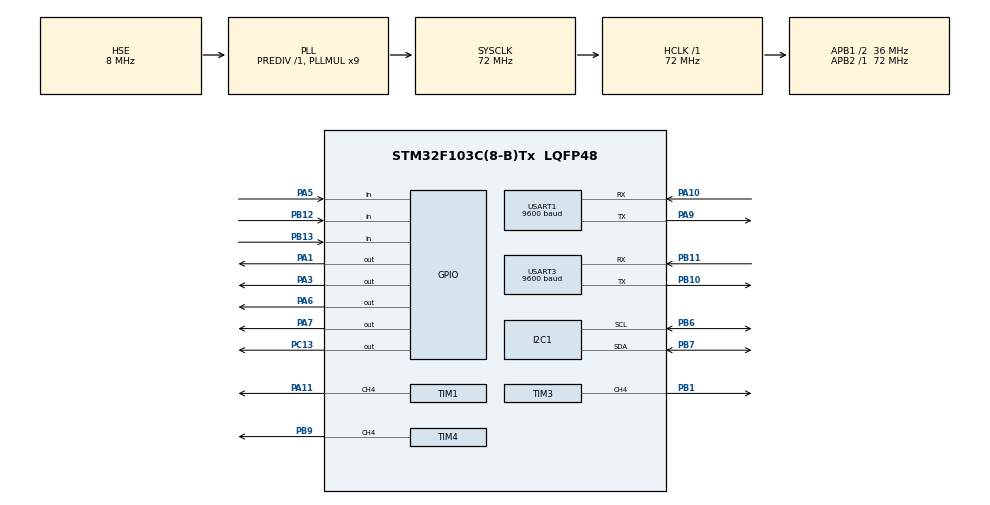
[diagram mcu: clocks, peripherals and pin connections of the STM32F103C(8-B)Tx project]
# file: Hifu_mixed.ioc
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Dma.Request0=USART1_RX
Dma.Request1=USART1_TX
Dma.Request2=USART3_RX
Dma.Request3=USART3_TX
Dma.USART1_RX.0.Direction=DMA_PERIPH_TO_MEMORY
Dma.USART1_RX.0.Instance=DMA1_Channel5
Dma.USART1_RX.0.MemDataAlignment=DMA_MDATAALIGN_BYTE
Dma.USART1_RX.0.MemInc=DMA_MINC_ENABLE
Dma.USART1_RX.0.Mode=DMA_NORMAL
Dma.USART1_RX.0.PeriphDataAlignment=DMA_PDATAALIGN_BYTE
Dma.USART1_RX.0.PeriphInc=DMA_PINC_DISABLE
Dma.USART1_RX.0.Priority=DMA_PRIORITY_LOW
Dma.USART1_TX.1.Direction=DMA_MEMORY_TO_PERIPH
Dma.USART1_TX.1.Instance=DMA1_Channel4
Dma.USART1_TX.1.MemDataAlignment=DMA_MDATAALIGN_BYTE
Dma.USART1_TX.1.MemInc=DMA_MINC_ENABLE
Dma.USART1_TX.1.Mode=DMA_NORMAL
Dma.USART1_TX.1.PeriphDataAlignment=DMA_PDATAALIGN_BYTE
Dma.USART1_TX.1.PeriphInc=DMA_PINC_DISABLE
Dma.USART1_TX.1.Priority=DMA_PRIORITY_LOW
Dma.USART3_RX.2.Direction=DMA_PERIPH_TO_MEMORY
Dma.USART3_RX.2.Instance=DMA1_Channel3
Dma.USART3_RX.2.MemDataAlignment=DMA_MDATAALIGN_BYTE
Dma.USART3_RX.2.MemInc=DMA_MINC_ENABLE
Dma.USART3_RX.2.Mode=DMA_NORMAL
Dma.USART3_RX.2.PeriphDataAlignment=DMA_PDATAALIGN_BYTE
Dma.USART3_RX.2.PeriphInc=DMA_PINC_DISABLE
Dma.USART3_RX.2.Priority=DMA_PRIORITY_LOW
Dma.USART3_TX.3.Direction=DMA_MEMORY_TO_PERIPH
Dma.USART3_TX.3.Instance=DMA1_Channel2
Dma.USART3_TX.3.MemDataAlignment=DMA_MDATAALIGN_BYTE
Dma.USART3_TX.3.MemInc=DMA_MINC_ENABLE
Dma.USART3_TX.3.Mode=DMA_NORMAL
Dma.USART3_TX.3.PeriphDataAlignment=DMA_PDATAALIGN_BYTE
Dma.USART3_TX.3.PeriphInc=DMA_PINC_DISABLE
Dma.USART3_TX.3.Priority=DMA_PRIORITY_LOW
I2C1.I2C_Mode=I2C_Standard
I2C1.OwnAddress=80
Mcu.Family=STM32F1
Mcu.Name=STM32F103C(8-B)Tx
Mcu.Package=LQFP48
NVIC.DMA1_Channel2_IRQn=true\:0\:0\:false\:false\:true\:false\:true\:true
NVIC.DMA1_Channel3_IRQn=true\:0\:0\:false\:false\:true\:false\:true\:true
NVIC.DMA1_Channel4_IRQn=true\:0\:0\:false\:false\:true\:false\:true\:true
NVIC.DMA1_Channel5_IRQn=true\:0\:0\:false\:false\:true\:false\:true\:true
NVIC.I2C1_ER_IRQn=true\:0\:0\:false\:false\:true\:true\:true\:true
NVIC.I2C1_EV_IRQn=true\:0\:0\:false\:false\:true\:true\:true\:true
NVIC.PriorityGroup=NVIC_PRIORITYGROUP_4
NVIC.TIM2_IRQn=true\:0\:0\:false\:false\:true\:true\:true\:true
NVIC.USART1_IRQn=true\:0\:0\:false\:false\:true\:true\:true\:true
NVIC.USART3_IRQn=true\:0\:0\:false\:false\:true\:true\:true\:true
PA1.GPIO_ModeDefaultOutputPP=GPIO_MODE_OUTPUT_PP
PA1.GPIO_PuPd=GPIO_PULLDOWN
PA1.GPIO_Speed=GPIO_SPEED_FREQ_HIGH
PA1.Signal=GPIO_Output
PA10.Mode=Asynchronous
PA10.Signal=USART1_RX
PA11.Signal=S_TIM1_CH4
PA3.GPIO_PuPd=GPIO_PULLDOWN
PA3.GPIO_Speed=GPIO_SPEED_FREQ_HIGH
PA3.Signal=GPIO_Output
PA5.Signal=GPIO_Input
PA6.GPIO_PuPd=GPIO_PULLDOWN
PA6.GPIO_Speed=GPIO_SPEED_FREQ_HIGH
PA6.Signal=GPIO_Output
PA7.GPIO_PuPd=GPIO_PULLDOWN
PA7.GPIO_Speed=GPIO_SPEED_FREQ_HIGH
PA7.PinState=GPIO_PIN_RESET
PA7.Signal=GPIO_Output
PA9.Mode=Asynchronous
PA9.Signal=USART1_TX
PB1.Signal=S_TIM3_CH4
PB10.Mode=Asynchronous
PB10.Signal=USART3_TX
PB11.Mode=Asynchronous
PB11.Signal=USART3_RX
PB12.Signal=GPIO_Input
PB13.Signal=GPIO_Input
PB6.Mode=I2C
PB6.Signal=I2C1_SCL
PB7.Mode=I2C
PB7.Signal=I2C1_SDA
PB9.Signal=S_TIM4_CH4
PC13-TAMPER-RTC.GPIO_Speed=GPIO_SPEED_FREQ_HIGH
PC13-TAMPER-RTC.PinState=GPIO_PIN_SET
PC13-TAMPER-RTC.Signal=GPIO_Output
PD0-OSC_IN.Mode=HSE-External-Oscillator
PD0-OSC_IN.Signal=RCC_OSC_IN
PD1-OSC_OUT.Mode=HSE-External-Oscillator
PD1-OSC_OUT.Signal=RCC_OSC_OUT
ProjectManager.HeapSize=0x200
ProjectManager.StackSize=0x400
ProjectManager.TargetToolchain=MDK-ARM V5.32
RCC.AHBFreq_Value=72000000
RCC.APB1CLKDivider=RCC_HCLK_DIV2
RCC.APB1Freq_Value=36000000
RCC.APB1TimFreq_Value=72000000
RCC.APB2Freq_Value=72000000
RCC.APB2TimFreq_Value=72000000
RCC.HCLKFreq_Value=72000000
RCC.PLLMUL=RCC_PLL_MUL9
RCC.PLLSourceVirtual=RCC_PLLSOURCE_HSE
RCC.SYSCLKFreq_VALUE=72000000
RCC.SYSCLKSource=RCC_SYSCLKSOURCE_PLLCLK
RCC.USBFreq_Value=72000000
SH.S_TIM1_CH4.0=TIM1_CH4,PWM Generation4 CH4
SH.S_TIM3_CH4.0=TIM3_CH4,PWM Generation4 CH4
SH.S_TIM4_CH4.0=TIM4_CH4,PWM Generation4 CH4
TIM1.AutoReloadPreload=TIM_AUTORELOAD_PRELOAD_ENABLE
TIM1.Channel-PWM\ Generation4\ CH4=TIM_CHANNEL_4
TIM1.Period=100-1
TIM1.Prescaler=720-1
TIM2.AutoReloadPreload=TIM_AUTORELOAD_PRELOAD_ENABLE
TIM2.Period=1000-1
TIM2.Prescaler=7200-1
TIM3.AutoReloadPreload=TIM_AUTORELOAD_PRELOAD_ENABLE
TIM3.Channel-PWM\ Generation4\ CH4=TIM_CHANNEL_4
TIM3.Period=100-1
TIM3.Prescaler=720-1
TIM4.AutoReloadPreload=TIM_AUTORELOAD_PRELOAD_ENABLE
TIM4.Channel-PWM\ Generation4\ CH4=TIM_CHANNEL_4
TIM4.Period=100-1
TIM4.Prescaler=720-1
USART1.BaudRate=9600
USART1.VirtualMode=VM_ASYNC
USART3.BaudRate=9600
USART3.VirtualMode=VM_ASYNC
VP_SYS_VS_ND.Mode=No_Debug
VP_TIM1_VS_ClockSourceINT.Mode=Internal
VP_TIM2_VS_ClockSourceINT.Mode=Internal
VP_TIM3_VS_ClockSourceINT.Mode=Internal
VP_TIM4_VS_ClockSourceINT.Mode=Internal
board=custom

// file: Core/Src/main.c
/* USER CODE BEGIN Header */
/**
  ******************************************************************************
  * @file           : main.c
  * @brief          : Main program body
  ******************************************************************************
  * @attention
  *
  * Copyright (c) 2024 STMicroelectronics.
  * All rights reserved.
  *
  * This software is licensed under terms that can be found in the LICENSE file
  * in the root directory of this software component.
  * If no LICENSE file comes with this software, it is provided AS-IS.
  *
  ******************************************************************************
  */
/* USER CODE END Header */
#include "main.h"

/* USER CODE BEGIN Includes */
#include "string.h"
/* USER CODE END Includes */

I2C_HandleTypeDef hi2c1;

TIM_HandleTypeDef htim1;
TIM_HandleTypeDef htim2;
TIM_HandleTypeDef htim3;
TIM_HandleTypeDef htim4;

UART_HandleTypeDef huart1;
UART_HandleTypeDef huart3;
DMA_HandleTypeDef hdma_usart1_rx;
DMA_HandleTypeDef hdma_usart1_tx;
DMA_HandleTypeDef hdma_usart3_rx;
DMA_HandleTypeDef hdma_usart3_tx;

void SystemClock_Config(void);
static void MX_GPIO_Init(void);
static void MX_DMA_Init(void);
static void MX_I2C1_Init(void);
static void MX_TIM2_Init(void);
static void MX_USART1_UART_Init(void);
static void MX_USART3_UART_Init(void);
static void MX_TIM1_Init(void);
static void MX_TIM3_Init(void);
static void MX_TIM4_Init(void);

/* USER CODE BEGIN 0 */

uint8_t adrs[1] = {0x40};

#define rxsize  6
uint8_t rxdata[rxsize];

int flag_recieved = 0;
int start_timer_stc_buzzer = 0;
volatile int timer_stc_buzzer = 0;

int timer_select = 0;

volatile int start_timer1_100ms = 0;
volatile int timer1_100ms = 0;

int shooting = 0;
int shooting_timer = 0;
int shoot_duration = 0;

int ready_stop_one_time_check = 0;
int ready_stop_one_time = 0;

int step = 0; // 0 : start / 1 : run

int reset_for_first_time = 1;

int connect_to_cartridge = 0;
int connect_to_cartridge_buzzer = 0;
int connect_to_cartridge_handpiece_change = 0;
int connect_to_cartridge_first_time = 1;

volatile int cartridge_0x44_kind_check = 77;
int cartridge_0x44_kind_check_check = 77;

volatile uint16_t cartridge_shot = 0;
uint16_t cartridge_shot_check = 0;

volatile uint16_t current_shot = 0;
uint16_t current_shot_check = 0;

volatile uint16_t per_patient = 0;
uint16_t per_patient_check = 0;

volatile int first_start = 0;
int first_start_check = 0;

volatile int ready = 0;
volatile int ready_check = 0;

volatile int energy_level = 0;
int energy_level_check = 0;

volatile int length_level = 0;
int length_level_check = 0;

volatile int distance_page = 0;
int distance_page_check = 0;

volatile int distance_level = 0;
int distance_level_check = 0;

int ready_led_start = 0;
volatile int timer_ready_led_start = 0;

int handpiece_select = 0; // 0:handpiece1 & 1:handpiece2
int handpiece_select_check = 0;

//*****************THE SIZE OF RECEIVING BUFFER MUST BE ATLEAST 2 TIMES MORE THAN THE BIGGEST DATA SIZE WHICH IS TRANSFERED **************************
uint8_t RxBuf[20];
uint8_t MainBuf[30];
uint8_t temp[2];
int indx = 0;

//uint8_t RxBuf2[2000]; // STC SHOOT CHECK

uint8_t start_treatment[20]    = {0xAA, 0x73, 0x03, 0x7B, 0x00, 0x89, 0xCC, 0x33, 0xC3, 0x3C, 0xAA, 0x72, 0x03, 0x7B, 0x00, 0x89, 0xCC, 0x33, 0xC3, 0x3C};
uint8_t ready_STC[20]					 = {0xAA, 0x73, 0x03, 0xA2, 0x02, 0x68, 0xCC, 0x33, 0xC3, 0x3C, 0xAA, 0x72, 0x03, 0xA2, 0x02, 0x68, 0xCC, 0x33, 0xC3, 0x3C};
uint8_t ready_canccel[20]			 = {0xAA, 0x73, 0x03, 0xAC, 0x02, 0xA9, 0xCC, 0x33, 0xC3, 0x3C, 0xAA, 0x72, 0x03, 0xAC, 0x02, 0xA9, 0xCC, 0x33, 0xC3, 0x3C};
uint8_t energy_up[20]					 = {0xAA, 0x73, 0x03, 0x6D, 0x01, 0x6B, 0xCC, 0x33, 0xC3, 0x3C, 0xAA, 0x72, 0x03, 0x6D, 0x01, 0x6B, 0xCC, 0x33, 0xC3, 0x3C};
uint8_t energy_down[20]				 = {0xAA, 0x73, 0x03, 0x79, 0x01, 0xAF, 0xCC, 0x33, 0xC3, 0x3C, 0xAA, 0x72, 0x03, 0x79, 0x01, 0xAF, 0xCC, 0x33, 0xC3, 0x3C};
uint8_t length_up[20]					 = {0xAA, 0x73, 0x03, 0xC7, 0x01, 0x60, 0xCC, 0x33, 0xC3, 0x3C, 0xAA, 0x72, 0x03, 0xC7, 0x01, 0x60, 0xCC, 0x33, 0xC3, 0x3C};
uint8_t length_down[20]				 = {0xAA, 0x73, 0x03, 0xC5, 0x01, 0xAB, 0xCC, 0x33, 0xC3, 0x3C, 0xAA, 0x72, 0x03, 0xC5, 0x01, 0xAB, 0xCC, 0x33, 0xC3, 0x3C};
uint8_t distance_p[20]			   = {0xAA, 0x73, 0x03, 0xCA, 0x00, 0xDB, 0xCC, 0x33, 0xC3, 0x3C, 0xAA, 0x72, 0x03, 0xCA, 0x00, 0xDB, 0xCC, 0x33, 0xC3, 0x3C};
uint8_t distance_p_cancel[20]	 = {0xAA, 0x73, 0x03, 0xC9, 0x00, 0xE0, 0xCC, 0x33, 0xC3, 0x3C, 0xAA, 0x72, 0x03, 0xC9, 0x00, 0xE0, 0xCC, 0x33, 0xC3, 0x3C};
uint8_t distance_up[20]				 = {0xAA, 0x73, 0x03, 0xCB, 0x01, 0x9E, 0xCC, 0x33, 0xC3, 0x3C, 0xAA, 0x72, 0x03, 0xCB, 0x01, 0x9E, 0xCC, 0x33, 0xC3, 0x3C};
uint8_t distance_down[20]			 = {0xAA, 0x73, 0x03, 0x77, 0x01, 0xA2, 0xCC, 0x33, 0xC3, 0x3C, 0xAA, 0x72, 0x03, 0x77, 0x01, 0xA2, 0xCC, 0x33, 0xC3, 0x3C};

uint8_t let_start[10]							= {0x5A, 0xA5, 0x07, 0x82, 0x00, 0x84, 0x5A, 0x01, 0x00, 0x01}; // when micro is stablished starts the LCD procces from the page 01 - [9] : pade ID - [7] : change page
uint8_t var_write[8]  						= {0x5A, 0xA5, 0x05, 0x82, 0x00, 0x00, 0x00, 0x00};

///////////////////////////////////////////////////////     DWIN     //////////////////////////////////////////////////////////////////

void HAL_UART_RxCpltCallback(UART_HandleTypeDef *huart)
{
		if (huart->Instance == USART1) // interruput normal 1 byte mode
		{
				memcpy(RxBuf+indx, temp, 1);
				if (++indx >= 9)
				{
						indx = 0;
						flag_recieved = 1;
				}

				HAL_UART_Receive_IT(&huart1, temp, 1);

  	}

}

///////////////////////////////////////////////////////     STC     //////////////////////////////////////////////////////////////////

//void HAL_UARTEx_RxEventCallback(UART_HandleTypeDef *huart, uint16_t Size)
//{
//	if (huart->Instance == USART3) //NORMAL MODE DMA
//	{
//			if ((RxBuf2[0] == 0xAA) && (RxBuf2[1] == 0x71) && (RxBuf2[2] == 0x09) && (RxBuf2[3] == 0x02) && (RxBuf2[4] == 0xE4))
//			{
//					//memset(RxBuf2, 0, 2000);
//					current_shot ++;
//					per_patient ++;
//					cartridge_shot --;
//				HAL_GPIO_WritePin(GPIOA, GPIO_PIN_3, GPIO_PIN_SET);
//			}
//					HAL_UARTEx_ReceiveToIdle_DMA(&huart3, RxBuf2, 2000);
//					__HAL_DMA_DISABLE_IT(&hdma_usart3_rx, DMA_IT_HT);
//
// 	}
//
//}

///////////////////////////////////////////////////////     Small Delay     //////////////////////////////////////////////////////////////////

void Delay_us(uint32_t us)
{
    uint32_t count = us * 5;  // Approximation for 72 MHz clock, tweak if needed
    while(count--) {
        __asm("nop");  // No operation (1 cycle)
    }
}

/////////////////////////////////////////////////////////////////////////////////////////////////////////////////////////////////////////////

///////////////////////////////////////////////////////     RGB LED     //////////////////////////////////////////////////////////////////

// RED : PA11 (TIM1_CH4)// GREEN : PB1 (TIM3_CH4)// BLUE : PB9 (TIM4_CH4)
/*
   ERROR NO CARTRDIGE : RED FLASHING : CHANGING FREQEUNCY FROM 1KHZ TO 1 HZ, if we do this, MCU strangely deosn't act and change f, I was forced to
	 use delay(700) when changing the f back to 1KHZ to give time to mcu to change f, otherwise it will turn off RED pwm completely, also start stop
   seems to be necessar, without start & stop again it deosn't work !!!!
*/

void RGB_LED(int cr_kind)
{
    if (cr_kind == 0) // RED ERROR NO CARTRIDGE FLASHING
		{
				TIM1->PSC = 1125-1;
				TIM1->ARR  = 64000-1;
				TIM1->CCR4 = 32000;

				TIM3->CCR4 = 0;

				TIM4->CCR4 = 0;
		}

		else
		{
				HAL_TIM_PWM_Stop(&htim1, TIM_CHANNEL_4);
				TIM1->PSC = 720-1;
				TIM1->ARR  = 100-1;

				switch (cr_kind)
				{
					case 1:	// ORANGE
									TIM1->CCR4 = 99;
									HAL_TIM_PWM_Start(&htim1, TIM_CHANNEL_4);
									HAL_Delay(700);

									TIM3->CCR4 = 8;
									TIM4->CCR4 = 0;
									break;
					case 2:	// GREEN
									TIM1->CCR4 = 0;
									HAL_TIM_PWM_Start(&htim1, TIM_CHANNEL_4);
									HAL_Delay(700);

									TIM3->CCR4 = 99;
									TIM4->CCR4 = 0;
									break;

					case 3: // BLUE
									TIM1->CCR4 = 0;
									HAL_TIM_PWM_Start(&htim1, TIM_CHANNEL_4);
									HAL_Delay(700);

									TIM3->CCR4 = 0;
									TIM4->CCR4 = 99;
									break;

					case 4: // PURPLE + PINK
									TIM1->CCR4 = 99;
									HAL_TIM_PWM_Start(&htim1, TIM_CHANNEL_4);
									HAL_Delay(700);

									TIM3->CCR4 = 0;
									TIM4->CCR4 = 99;
									break;

					case 5:	// RED + PINK
									TIM1->CCR4 = 99;
									HAL_TIM_PWM_Start(&htim1, TIM_CHANNEL_4);
									HAL_Delay(700);

									TIM3->CCR4 = 6;
									TIM4->CCR4 = 6;
									break;

				}
		}
}

/////////////////////////////////////////////////////////////////////////////////////////////////////////////////////////////////////////////

/* USER CODE END 0 */

int main(void)
{

  /* MCU Configuration--------------------------------------------------------*/

  /* Reset of all peripherals, Initializes the Flash interface and the Systick. */
  HAL_Init();

  /* Configure the system clock */
  SystemClock_Config();

  /* Initialize all configured peripherals */
  MX_GPIO_Init();
  MX_DMA_Init();
  MX_I2C1_Init();
  MX_TIM2_Init();
	MX_TIM1_Init();
  MX_TIM3_Init();
  MX_TIM4_Init();

	HAL_Delay(1500);

  MX_USART1_UART_Init();
  MX_USART3_UART_Init();

  /* USER CODE BEGIN 2 */

	HAL_UART_Receive_IT(&huart1, temp, 1);

	//HAL_Delay (1000);

	//HAL_UARTEx_ReceiveToIdle_DMA(&huart3, RxBuf2, 2000);
	//__HAL_DMA_DISABLE_IT(&hdma_usart3_rx, DMA_IT_HT);

	HAL_TIM_Base_Start_IT(&htim1);
	HAL_TIM_PWM_Start(&htim1, TIM_CHANNEL_4);

	HAL_TIM_Base_Start_IT(&htim2);

	HAL_TIM_Base_Start_IT(&htim3);
	HAL_TIM_PWM_Start(&htim3, TIM_CHANNEL_4);

	HAL_TIM_Base_Start_IT(&htim4);
	HAL_TIM_PWM_Start(&htim4, TIM_CHANNEL_4);

	first_start_check = 0;
	energy_level_check = energy_level;
	length_level_check = length_level;
	distance_page_check = distance_page;
	distance_level_check = distance_level;
	cartridge_shot_check = cartridge_shot;
	current_shot_check = 0;
	per_patient_check = per_patient;
	cartridge_0x44_kind_check = cartridge_0x44_kind_check_check;

	HAL_GPIO_WritePin(GPIOA, GPIO_PIN_1, GPIO_PIN_SET);

  /* USER CODE END 2 */

  /* Infinite loop */
  while (1)
  {

    /* USER CODE BEGIN 3 */

// ********************************************* Start Handpiece_selection **********************************************************************

		/*
				6 * MUX (3 * CD4052B + 3 * CD4053B) : 2*4052 for I2C & 1*4052 for LED_READY + LED_SHOT
																						: 3*4053 for others.
		  + 2 * Relay Two Contact (Motor 4 wire)

			SELECT PINS:
										4052(1)(STM32_I2C) 					 : B = GND / A = PA7  (PA7 Doesn't care which Handpiece is selected, just checks the Availability)
										4052(2)(STC_I2C)   					 : B = PA6 / A = PA7  (PA6 = 0 > CART1 OR PA6 = 1 > CART2 SO PA6 the ONE & ONLY Select pin !!!!!!)

										4052(3)(Handpiece's LEDs')   : B = GND / A = PA6	(Common X & Y = STC's pins + STM32's PB13 & PB12)(IN/OUT = CART1[X0,Y0] & CART2[X1,Y1])
*** There is No need for a Buffer/BJT to Activate the LED's because STC is Directly Driving the LED's, so the Current Required is not Higher than 10mA

										4053(1,2,3)(Others : Ready & Shot Switches + IR motion motor detector + ...)   : A = B = C = PA6

										Relay Two Contact : bobbin = PA6     (Normally Connect [NC] = CART1)  (Normally Open [NO] = CART2)
		*/

/*
		if (handpiece_select_check != handpiece_select)
		{
				handpiece_select_check = handpiece_select;

				connect_to_cartridge_handpiece_change = 1;

				if (handpiece_select == 0)
				{
						HAL_GPIO_WritePin(GPIOA, GPIO_PIN_6, GPIO_PIN_RESET);
						HAL_GPIO_WritePin(GPIOA, GPIO_PIN_7, GPIO_PIN_RESET);
				}

				else
				{
						HAL_GPIO_WritePin(GPIOA, GPIO_PIN_6, GPIO_PIN_SET);
						HAL_GPIO_WritePin(GPIOA, GPIO_PIN_7, GPIO_PIN_SET);
				}
		}

*/

// ********************************************* End Handpiece_selection **********************************************************************

// ********************************************* Start Counting Shot by Handpiece's LED *********************************************************

		switch (cartridge_0x44_kind_check)
		{
			case 1:
				shoot_duration = (20) * ((length_level + 3) / 10.0);
				if (shoot_duration >= 20)
						shoot_duration = 20;
				if (shoot_duration <= 13)
						shoot_duration = 13;
				break;

			case 2:
				shoot_duration = (22 + (energy_level / 13.0 * 7)) * ((length_level + 3) / 21.0); // x.0 is Very Very important since it considers it as float.
				if (shoot_duration >= 29)
						shoot_duration = 29;
				if (shoot_duration <= 13)
						shoot_duration = 13;
				break;

			case 3:
				shoot_duration = (26 + (energy_level / 7.0 * 12)) * ((length_level + 3) / 21.0);
				if (shoot_duration >= 38)
						shoot_duration = 38;
				if (shoot_duration <= 13)
						shoot_duration = 13;
				break;

			case 4:
				shoot_duration = (24 + (energy_level / 9.0 * 10)) * ((length_level + 3) / 21.0);
				if (shoot_duration >= 38)
						shoot_duration = 38;
				if (shoot_duration <= 13)
						shoot_duration = 13;
				break;

			case 5:
				shoot_duration = (24 + (energy_level / 9.0 * 10)) * ((length_level + 3) / 21.0);
				if (shoot_duration >= 38)
						shoot_duration = 38;
				if (shoot_duration <= 13)
						shoot_duration = 13;
				break;

			default:
				break;

		}

//////////////////

		if (shooting == 0)
		{
				if (!(HAL_GPIO_ReadPin (GPIOB, GPIO_PIN_12))) // Active LOW
				{
						shooting = 1;
				}
		}

		if ( (shooting == 1) && (shooting_timer >= shoot_duration) )
    {
					if (HAL_GPIO_ReadPin (GPIOB, GPIO_PIN_12))
					{
							shooting = 0;
							shooting_timer = 0;
							current_shot ++;
							per_patient ++;
							cartridge_shot --;
					}
    }

// ********************************************* End Counting Shot by Handpiece's LED *********************************************************

// ********************************************* Start Ready & Stop by Handpiece's LED ********************************************************

			if (!(HAL_GPIO_ReadPin (GPIOB, GPIO_PIN_13))) // Active LOW
				{

						ready_stop_one_time = 1;
				}

			else
				{
						ready_stop_one_time = 0;
				}

				if (ready_stop_one_time_check != ready_stop_one_time)
				{

					ready_led_start = 1;

					if (shooting == 1)
						timer_select = shoot_duration;
					else
						timer_select = 3;

					if (timer_ready_led_start >= timer_select)
					{

						if(ready_stop_one_time == 1)
						{
							var_write[4] = 0x12;
							var_write[6] = 0x00;
							var_write[7] = 1;  //ready
							HAL_Delay(50);
							HAL_UART_Transmit (&huart1, var_write, 8, 20);
						}

						if(ready_stop_one_time == 0)
						{
							var_write[4] = 0x12;
							var_write[6] = 0x00;
							var_write[7] = 0;  // stop
							HAL_Delay(50);
							HAL_UART_Transmit (&huart1, var_write, 8, 20);
						}

					ready_stop_one_time_check = ready_stop_one_time;
					ready_led_start = 0;
					timer_ready_led_start = 0;

				}
			}
// ********************************************* END Ready & Stop by Handpiece's LED *********************************************************

// ********************************************* Start Dwin *************************************************************************************

	if (flag_recieved == 1)					// 1) using proccess in while(1) instead of func 2) using HAL_UART_RxCpltCallback instead of HAL_UARTEx_RxEventCallback
	{														   	// 3) using simple interrupt 1 byte recieving method instead of DMA 4) in main() copy recieve_IT(RxBuf,1byte)
			memcpy (MainBuf, RxBuf, 9); // 5) defining Mainbuf because we want full 9 byte fixed to proccess 6) cancel 4F 4B response of DWIN in good
			flag_recieved = 0;				  // 7) when 9 bytes recieved flag is 1 and processing starts. 8) we know that DWIN only sends 9 bytes of data
																 // ****) but why ? because DWIN does NOT send these 9 bytes in 1 chunk or part. it sends these 8 byte into 2 parts
			if (MainBuf[3] == 0x83)		 //       or several chunk of bytes. - and with that method with DMA the first part or chunk missed because
			{													 // 			 DWIN inserted a big delay between these 2 chunk and DMA thought the new commands are arriving and puted away
																 //			 the first part. also we have indx that with each byte recieved inrcreamented and inserted to Rxbuf
				switch(MainBuf[4])		 	 // 			 VERY NICE. Thank God !
				{

// 10 : first_start // 11 ready 1 ,0 // 12 standby wait ready icon 0,1,2 // 13 go to distance_page 1 back 0 // 14 disptance_page_icon 0,1,2=normal
// 15 : current_shot // 16 cartridge_shot // 17 total 9999 // 18 patient // 19 distance_level // 20 length // 21 energy

											case 0x10:
												first_start = 1;
												break;
											case 0x12:
												ready = MainBuf[8];
												ready_check = 1;
												break;
											case 0x21:
												energy_level = MainBuf[8];
												break;
											case 0x20:
												length_level = MainBuf[8];
												break;
											case 0x13:
												distance_page = MainBuf[8]; //1 goto 0 back
												break;
											case 0x19:
												distance_level = MainBuf[8];
												break;
											case 0x18:
												per_patient = MainBuf[8];
												break;
											case 0x30:
												//handpiece_select = MainBuf[8];
												break;

											default:
												break;

						}

			}
		}
// ********************************************* End Dwin *************************************************************************************

// ********************************************* Start Checking STC BUZZER ********************************************************************
if (connect_to_cartridge == 0)	//connect_to_cartridge_buzzer == 0)
{
		if (HAL_GPIO_ReadPin (GPIOA, GPIO_PIN_5))
    {
					start_timer_stc_buzzer = 1;
    }
    else
    {
					start_timer_stc_buzzer = 0;
					timer_stc_buzzer = 0;
    }

		if (timer_stc_buzzer >= 5)
		{
					connect_to_cartridge = 1; ///connect_to_cartridge = 1
					current_shot = 0;
		}
}

// ********************************************* Start Cartridge_EEPROM_CHECKING **************************************************************
// do not use 400khz speed. just use 100khz because 400khz is not working for every cartridges

/*	CD4052B MUX/DEMUX Analog Switch

		MUX1 : STM32 (using Ch0 > cart1 & Ch1 > cart2 & Ch2,3 = Empty)

													sel B	(GND)	|	sel A (PA7)
																			|
		CART1 > STM32										0	|	0			(00 = CH0 : CART1)
		if (CART1 check was ok):				0	| 1			(01 = CH1 : CART2)
		 CART1 > STC &	CART2 > STM32			|

		if Handpiece2 selected:(by default and at Start, Handpiece1 is selected)

													sel B	(GND)	|	sel A (PA7)
																			|
		CART2 > STM32										0	|	1		 (01 = CH1 : CART2)
		if (CART2 check was ok):				0	| 0		 (00 = CH0 : CART1)
		 CART2 > STC &	CART1 > STM32			|

		STM32 Doesn't Disconnect from Cartrdiges, it just Alternating between 2 cartridges, if One Checking was ok, then it will Check other one.
---------------------------------------------------------------------------------------------------------------------------------------------
---------------------------------------------------------------------------------------------------------------------------------------------
		MUX2 : STC (using Ch1 > cart1 & Ch2 > cart2 & Ch0,3 = Empty)

													sel B	(PA6)	|	sel A (PA7)
																			|
	NO CART (Empty ChanneL0) > STC	  0	|	0			(00 = CH0 : Empty)
	if (CART1 check by STM32 was ok): 	|
	CART1 > STC &	CART2 > STM32				0	| 1			(01 = CH1 : CART1)

		if Handpiece2 selected:(by default and at Start, Handpiece1 is selected)

													sel B	(PA6)	|	sel A (PA7)
																			|
	NO CART (Empty ChanneL3) > STC		1	|	1			(11 = CH3 : Empty)
	if (CART2 check by STM32 was ok):		|
	CART2 > STC &	CART1 > STM32				1	| 0			(10 = CH2 : CART2)

	STC Has 3 States/Phases : (1) No Connect -2 Channels- (2) Cart1 (3) Cart 2

*/

/*
		if ( (connect_to_cartridge_buzzer == 1) || (connect_to_cartridge_first_time == 1) || (connect_to_cartridge_handpiece_change == 1))
		{

			for(int x = 0; x <= 1; x++)
			{
			HAL_StatusTypeDef result; //For checking HAL_OK i2c

      memset(rxdata, 0, rxsize);  // Clear the receiving buffer

			cartridge_0x44_kind_check = 0;

			if (handpiece_select == 0)
			{
					HAL_GPIO_WritePin(GPIOA, GPIO_PIN_7, GPIO_PIN_RESET);
			}
			else
			{
					HAL_GPIO_WritePin(GPIOA, GPIO_PIN_7, GPIO_PIN_SET);
			}

			Delay_us(50);  // Add a small delay before starting communication for MUX select pin to activate

      HAL_I2C_Init(&hi2c1); // this way that I Init i2c again is more reliable and i2c failure's rate is reduced

      result = HAL_I2C_Master_Transmit(&hi2c1, 0xA0, adrs, 1, 1);   // Attempt to transmit to EEPROM

      if (result == HAL_OK)
			{
            result = HAL_I2C_Master_Receive(&hi2c1, 0xA0, rxdata, rxsize, 1); // Transmission was successful, attempt to receive data

            if (result == HAL_OK)
						{
                HAL_GPIO_WritePin(GPIOC, GPIO_PIN_13, GPIO_PIN_SET);   // Reception was successful, process EEPROM data

													switch (rxdata[4])
													{
															case 0x02:
															{
																cartridge_0x44_kind_check = 1;
																break;
															}

															case 0x03:
															{
																cartridge_0x44_kind_check = 2;
																break;
															}

															case 0x06:
															{
																cartridge_0x44_kind_check = 3;
																break;
															}

															case 0x07:
															{
																cartridge_0x44_kind_check = 4;
																break;
															}

															case 0x08:
															{
																cartridge_0x44_kind_check = 5;
																break;
															}

															default:
															{
																cartridge_0x44_kind_check = 0;
																break;
															}

													}

													if (cartridge_0x44_kind_check != 0)
													{
															cartridge_shot = (rxdata[2] << 8) | rxdata[3];
															// We Don't Want to check EEPROM anymore since we got our Desired DATA :
															connect_to_cartridge_buzzer = 0;
															connect_to_cartridge_first_time = 0;
															connect_to_cartridge_handpiece_change = 0;

															HAL_I2C_DeInit(&hi2c1);
															Delay_us(50);
															//HAL_GPIO_WritePin(GPIOA, GPIO_PIN_7, GPIO_PIN_SET);
															HAL_GPIO_TogglePin(GPIOA, GPIO_PIN_7);
															//break;
													}

            }

// What to do When i2c Failed :

						else
						{
                // Reception failed
                HAL_GPIO_WritePin(GPIOC, GPIO_PIN_13, GPIO_PIN_RESET);
            }

        }

				else
				{
            // Transmission failed
            HAL_GPIO_WritePin(GPIOC, GPIO_PIN_13, GPIO_PIN_RESET);
        }

        HAL_I2C_DeInit(&hi2c1);

	}
}

if ((connect_to_cartridge_buzzer == 0) && (connect_to_cartridge_first_time == 0) && (connect_to_cartridge_handpiece_change == 0))

		{

				//har yek sanie ya do sanie yekbar ba i2c faghat 2 bar check kon = 42 ro ba 3 ta read befrest, hich kar dige ham nakon

		}

*/

if ( (connect_to_cartridge == 1) || (connect_to_cartridge_first_time == 1) )
		{

			for(int x = 0; x <= 1; x++)
			{
			HAL_StatusTypeDef result; //For checking HAL_OK i2c

      memset(rxdata, 0, rxsize);  // Clear the receiving buffer

			cartridge_0x44_kind_check = 0;

			HAL_GPIO_WritePin(GPIOA, GPIO_PIN_7, GPIO_PIN_RESET);  // MUX select pin to Activate STM32 channel

			Delay_us(50);  // Add a small delay before starting communication for MUX select pin to activate

      HAL_I2C_Init(&hi2c1); // this way that I Init i2c again is more reliable and i2c failure's rate is reduced

      result = HAL_I2C_Master_Transmit(&hi2c1, 0xA0, adrs, 1, 1);   // Attempt to transmit to EEPROM

      if (result == HAL_OK)
			{
            result = HAL_I2C_Master_Receive(&hi2c1, 0xA0, rxdata, rxsize, 1); // Transmission was successful, attempt to receive data

            if (result == HAL_OK)
						{
                HAL_GPIO_WritePin(GPIOC, GPIO_PIN_13, GPIO_PIN_SET);   // Reception was successful, process EEPROM data
								HAL_GPIO_WritePin(GPIOA, GPIO_PIN_3, GPIO_PIN_RESET);

													switch (rxdata[4])
													{
															case 0x02:
															{
																cartridge_0x44_kind_check = 1;
																break;
															}

															case 0x03:
															{
																cartridge_0x44_kind_check = 2;
																break;
															}

															case 0x06:
															{
																cartridge_0x44_kind_check = 3;
																break;
															}

															case 0x07:
															{
																cartridge_0x44_kind_check = 4;
																break;
															}

															case 0x08:
															{
																cartridge_0x44_kind_check = 5;
																break;
															}

															default:
															{
																cartridge_0x44_kind_check = 0;
																break;
															}

													}

													if (cartridge_0x44_kind_check != 0)
													{
															cartridge_shot = (rxdata[2] << 8) | rxdata[3];
															connect_to_cartridge = 0; // We Don't Want to check EEPROM anymore since we got our Desired DATA
															connect_to_cartridge_first_time = 0;
															HAL_I2C_DeInit(&hi2c1);
															Delay_us(50);
															HAL_GPIO_WritePin(GPIOA, GPIO_PIN_7, GPIO_PIN_SET);

															//break;
													}

            }

// What to do When i2c Failed :

						else
						{
                // Reception failed
                HAL_GPIO_WritePin(GPIOC, GPIO_PIN_13, GPIO_PIN_RESET);
								HAL_GPIO_WritePin(GPIOA, GPIO_PIN_3, GPIO_PIN_SET);
            }

        }

				else
				{
            // Transmission failed
            HAL_GPIO_WritePin(GPIOC, GPIO_PIN_13, GPIO_PIN_RESET);
						HAL_GPIO_WritePin(GPIOA, GPIO_PIN_3, GPIO_PIN_SET);
        }

        HAL_I2C_DeInit(&hi2c1);

	}
}

// ****************************************** End Cartridge_EEPROM_CHECKING ********************************************************************

//***************************************** Start changing to related start_cartridge page *****************************************************

	if (step == 0)
	{
		if (cartridge_0x44_kind_check_check != cartridge_0x44_kind_check)
		{
			cartridge_0x44_kind_check_check = cartridge_0x44_kind_check;

		  switch (cartridge_0x44_kind_check)
		  {
				case 0:
					let_start[9] = 0x01;
					HAL_Delay(50);
					HAL_UART_Transmit (&huart1, let_start, 10, 20);

					break;

				case 1:
					let_start[9] = 0x02;
					HAL_Delay(50);					// the lowest possible Delay to send commands is 30 ms. not 20 !
					HAL_UART_Transmit (&huart1, let_start, 10, 20);

					length_level = 9;
					length_level_check = 0;
					var_write[4] = 0x20;
					var_write[6] = 0x00;
					var_write[7] = 9; // length_level
					HAL_Delay(50);
					HAL_UART_Transmit (&huart1, var_write, 8, 20);

					break;

				case 2:
					let_start[9] = 0x03;
					HAL_Delay(50);
					HAL_UART_Transmit_DMA (&huart1, let_start, 10);

					length_level = 20;
					length_level_check = 0;
					var_write[4] = 0x20;
					var_write[6] = 0x00;
					var_write[7] = 20; // length_level
					HAL_Delay(50);
					HAL_UART_Transmit (&huart1, var_write, 8, 20);

					break;

				case 3:
					let_start[9] = 0x04;
					HAL_Delay(50);
					HAL_UART_Transmit_DMA (&huart1, let_start, 10);

					length_level = 20;
					length_level_check = 0;
					var_write[4] = 0x20;
					var_write[6] = 0x00;
					var_write[7] = 20; // length_level
					HAL_Delay(50);
					HAL_UART_Transmit (&huart1, var_write, 8, 20);

					break;

				case 4:
					let_start[9] = 0x05;
					HAL_Delay(50);
					HAL_UART_Transmit_DMA (&huart1, let_start, 10);

					length_level = 20;
					length_level_check = 0;
					var_write[4] = 0x20;
					var_write[6] = 0x00;
					var_write[7] = 20; // length_level
					HAL_Delay(50);
					HAL_UART_Transmit (&huart1, var_write, 8, 20);

					break;

				case 5:
					let_start[9] = 0x06;
					HAL_Delay(50);
					HAL_UART_Transmit (&huart1, let_start, 10, 20);

					length_level = 20;
					length_level_check = 0;
					var_write[4] = 0x20;
					var_write[6] = 0x00;
					var_write[7] = 20; // length_level
					HAL_Delay(50);
					HAL_UART_Transmit (&huart1, var_write, 8, 20);

					break;

					default:
					break;

		}

		RGB_LED(cartridge_0x44_kind_check);

	}

}

//************************************** END changing to related start_cartridge page ***********************************************************

//************************************** Start send start_treatment click to STC ***************************************************************

		if (first_start_check != first_start)
		{
				first_start_check = first_start;
				step = 1;
				HAL_Delay(50);
				HAL_UART_Transmit_DMA(&huart3, start_treatment, 20);
				HAL_Delay(50);
				HAL_UART_Transmit_DMA(&huart3, start_treatment, 20);

				HAL_GPIO_WritePin(GPIOA, GPIO_PIN_1, GPIO_PIN_SET);

		}

//************************************** END send start_treatment click to STC ******************************************************************

//************************************* Start changing to related runnning_cartridge page *******************************************************

	if (step == 1)
	{

		if (cartridge_0x44_kind_check_check != cartridge_0x44_kind_check)
		{

			cartridge_0x44_kind_check_check = cartridge_0x44_kind_check;

		  switch (cartridge_0x44_kind_check)
		  {

				case 0:
					let_start[9] = 0x01;
					HAL_Delay(50);
					HAL_UART_Transmit (&huart1, let_start, 10, 20);

					break;

				case 1:
					let_start[9] = 0x07;
					HAL_Delay(50);
					HAL_UART_Transmit (&huart1, let_start, 10, 20);

					ready = 0;

					var_write[4] = 0x12;
					var_write[6] = 0x00;
					var_write[7] = 0x00; // icon_ready
					HAL_Delay(50);
					HAL_UART_Transmit (&huart1, var_write, 8, 20);

					distance_page = 2;  // wow. thankGod

					current_shot = 0;
					current_shot_check = 0;
					var_write[4] = 0x15;
					var_write[6] = 0x00;
					var_write[7] = 0x00; // current_shot
					HAL_Delay(50);
					HAL_UART_Transmit (&huart1, var_write, 8, 20);

//					distance_level = 0;
//					distance_level_check = 0;
//					var_write[4] = 0x19;
//					var_write[6] = 0x00;
//					var_write[7] = 0x00; // distance_level
//					HAL_Delay(50);
//					HAL_UART_Transmit (&huart1, var_write, 8, 20);

					length_level = 9;
					length_level_check = 9;
					var_write[4] = 0x20;
					var_write[6] = 0x00;
					var_write[7] = 9; // length_level
					HAL_Delay(50);
					HAL_UART_Transmit (&huart1, var_write, 8, 20);

					energy_level = 0;
					energy_level_check = 0;
					var_write[4] = 0x21;
					var_write[6] = 0x00;
					var_write[7] = 0x00; // energy_level
					HAL_Delay(50);
					HAL_UART_Transmit (&huart1, var_write, 8, 20);

					cartridge_shot_check = 0;

					break;

				case 2:

					let_start[9] = 0x08;
					HAL_Delay(50);
					HAL_UART_Transmit (&huart1, let_start, 10, 20);

					ready = 0;

					var_write[4] = 0x12;
					var_write[6] = 0x00;
					var_write[7] = 0x00; // icon_ready
					HAL_Delay(50);
					HAL_UART_Transmit (&huart1, var_write, 8, 20);

					distance_page = 2;  // wow. thankGod

					current_shot = 0;
					current_shot_check = 0;
					var_write[4] = 0x15;
					var_write[6] = 0x00;
					var_write[7] = 0x00; // current_shot
					HAL_Delay(50);
					HAL_UART_Transmit (&huart1, var_write, 8, 20);

//					distance_level = 0;
//					distance_level_check = 0;
//					var_write[4] = 0x19;
//					var_write[6] = 0x00;
//					var_write[7] = 0x00; // distance_level
//					HAL_Delay(50);
//					HAL_UART_Transmit (&huart1, var_write, 8, 20);

					length_level = 20;
					length_level_check = 20;
					var_write[4] = 0x20;
					var_write[6] = 0x00;
					var_write[7] = 20; // length_level
					HAL_Delay(50);
					HAL_UART_Transmit (&huart1, var_write, 8, 20);

					energy_level = 0;
					energy_level_check = 0;
					var_write[4] = 0x21;
					var_write[6] = 0x00;
					var_write[7] = 0x00; // energy_level
					HAL_Delay(50);
					HAL_UART_Transmit (&huart1, var_write, 8, 20);

					cartridge_shot_check = 0;

					break;

				case 3:

					let_start[9] = 0x09;
					HAL_Delay(50);
					HAL_UART_Transmit (&huart1, let_start, 10, 20);

					ready = 0;

					var_write[4] = 0x12;
					var_write[6] = 0x00;
					var_write[7] = 0x00; // icon_ready
					HAL_Delay(50);
					HAL_UART_Transmit (&huart1, var_write, 8, 20);

					distance_page = 2;  // wow. thankGod

					current_shot = 0;
					current_shot_check = 0;
					var_write[4] = 0x15;
					var_write[6] = 0x00;
					var_write[7] = 0x00; // current_shot
					HAL_Delay(50);
					HAL_UART_Transmit (&huart1, var_write, 8, 20);

//					distance_level = 0;
//					distance_level_check = 0;
//					var_write[4] = 0x19;
//					var_write[6] = 0x00;
//					var_write[7] = 0x00; // distance_level
//					HAL_Delay(50);
//					HAL_UART_Transmit (&huart1, var_write, 8, 20);

					length_level = 20;
					length_level_check = 20;
					var_write[4] = 0x20;
					var_write[6] = 0x00;
					var_write[7] = 20; // length_level
					HAL_Delay(50);
					HAL_UART_Transmit (&huart1, var_write, 8, 20);

					energy_level = 0;
					energy_level_check = 0;
					var_write[4] = 0x21;
					var_write[6] = 0x00;
					var_write[7] = 0x00; // energy_level
					HAL_Delay(50);
					HAL_UART_Transmit (&huart1, var_write, 8, 20);

					cartridge_shot_check = 0;

					break;

				case 4:

					let_start[9] = 0x0A;
					HAL_Delay(50);
					HAL_UART_Transmit (&huart1, let_start, 10, 20);

					ready = 0;

					var_write[4] = 0x12;
					var_write[6] = 0x00;
					var_write[7] = 0x00; // icon_ready
					HAL_Delay(50);
					HAL_UART_Transmit (&huart1, var_write, 8, 20);

					distance_page = 2;  // wow. thankGod

					current_shot = 0;
					current_shot_check = 0;
					var_write[4] = 0x15;
					var_write[6] = 0x00;
					var_write[7] = 0x00; // current_shot
					HAL_Delay(50);
					HAL_UART_Transmit (&huart1, var_write, 8, 20);

//					distance_level = 0;
//					distance_level_check = 0;
//					var_write[4] = 0x19;
//					var_write[6] = 0x00;
//					var_write[7] = 0x00; // distance_level
//					HAL_Delay(50);
//					HAL_UART_Transmit (&huart1, var_write, 8, 20);

					length_level = 20;
					length_level_check = 20;
					var_write[4] = 0x20;
					var_write[6] = 0x00;
					var_write[7] = 20; // length_level
					HAL_Delay(50);
					HAL_UART_Transmit (&huart1, var_write, 8, 20);

					energy_level = 0;
					energy_level_check = 0;
					var_write[4] = 0x21;
					var_write[6] = 0x00;
					var_write[7] = 0x00; // energy_level
					HAL_Delay(50);
					HAL_UART_Transmit (&huart1, var_write, 8, 20);

					cartridge_shot_check = 0;

					break;

				case 5:

					let_start[9] = 0x0B;
					HAL_Delay(50);
					HAL_UART_Transmit (&huart1, let_start, 10, 20);

					ready = 0;

					var_write[4] = 0x12;
					var_write[6] = 0x00;
					var_write[7] = 0x00; // icon_ready
					HAL_Delay(50);
					HAL_UART_Transmit (&huart1, var_write, 8, 20);

					distance_page = 2;  // wow. thankGod

					current_shot = 0;
					current_shot_check = 0;
					var_write[4] = 0x15;
					var_write[6] = 0x00;
					var_write[7] = 0x00; // current_shot
					HAL_Delay(50);
					HAL_UART_Transmit (&huart1, var_write, 8, 20);

//					distance_level = 0;
//					distance_level_check = 0;
//					var_write[4] = 0x19;
//					var_write[6] = 0x00;
//					var_write[7] = 0x00; // distance_level
//					HAL_Delay(50);
//					HAL_UART_Transmit (&huart1, var_write, 8, 20);

					length_level = 20;
					length_level_check = 20;
					var_write[4] = 0x20;
					var_write[6] = 0x00;
					var_write[7] = 20; // length_level
					HAL_Delay(50);
					HAL_UART_Transmit (&huart1, var_write, 8, 20);

					energy_level = 0;
					energy_level_check = 0;
					var_write[4] = 0x21;
					var_write[6] = 0x00;
					var_write[7] = 0x00; // energy_level
					HAL_Delay(50);
					HAL_UART_Transmit (&huart1, var_write, 8, 20);

					cartridge_shot_check = 0;

					break;

				default:
					break;

		}

		RGB_LED(cartridge_0x44_kind_check);

	}

}

//************************************** END changing to related running_cartridge page ***********************************************************

//******* Start sending commands (ready + stop + cartridge_shot + current_shot + patient_shot energy + length + distance_page + distance) to STC ********

		if (ready_check)
		{
				if (ready == 1)
				{
							HAL_Delay(50);
							HAL_UART_Transmit(&huart3, ready_STC, 20, 20);
							HAL_GPIO_WritePin(GPIOA, GPIO_PIN_3, GPIO_PIN_SET);

				}
				else
				{
							HAL_Delay(50);
							HAL_UART_Transmit(&huart3, ready_canccel, 20, 20);
							HAL_GPIO_WritePin(GPIOA, GPIO_PIN_3, GPIO_PIN_RESET);
				}

				ready_check = 0;
		}

///////////////////////////////////////////////////////////////////////////

		if (energy_level_check != energy_level)
		{
				if (energy_level_check < energy_level)
				{
							HAL_Delay(50);
							HAL_UART_Transmit(&huart3, energy_up, 20, 20);
				}

				else
				{
							HAL_Delay(50);
							HAL_UART_Transmit(&huart3, energy_down, 20, 20);
				}
				energy_level_check = energy_level;
		}

///////////////////////////////////////////////////////////////////////////

		if (length_level_check != length_level)
		{
				if (length_level_check < length_level)
				{
							HAL_Delay(50);
							HAL_UART_Transmit(&huart3, length_up, 20, 20);
				}

				else
				{
							HAL_Delay(50);
							HAL_UART_Transmit(&huart3, length_down, 20, 20);
				}
				length_level_check = length_level;
		}

///////////////////////////////////////////////////////////////////////////

		if (distance_page_check != distance_page)
		{
				if (distance_page == 1)
				{
							HAL_Delay(50);
							HAL_UART_Transmit(&huart3, distance_p, 20, 20);
				}

				if (distance_page == 0)
				{
							HAL_Delay(50);
							HAL_UART_Transmit(&huart3, distance_p_cancel, 20, 20);
				}
				distance_page_check = distance_page;
		}

///////////////////////////////////////////////////////////////////////////

		if (distance_page)
		{
				if (distance_level_check != distance_level)
				{
					if (distance_level_check < distance_level)
					{
							HAL_Delay(50);
							HAL_UART_Transmit(&huart3, distance_up, 20, 20);
					}

					else
					{
							HAL_Delay(50);
							HAL_UART_Transmit(&huart3, distance_down, 20, 20);
					}
					distance_level_check = distance_level;
				}
		}

///////////////////////////////////////////////////////////////////////////

		if (per_patient_check != per_patient)
		{
				per_patient_check = per_patient;
				var_write[4] = 0x18;
				var_write[6] = (per_patient >> 8);;  // Most significant byte (MSB)
				var_write[7] = (per_patient & 0xFF);  // Least significant byte (LSB)
				HAL_Delay(50);
				HAL_UART_Transmit(&huart1, var_write, 8, 20);
		}

///////////////////////////////////////////////////////////////////////////

		if (current_shot_check != current_shot)
		{
				current_shot_check = current_shot;
				var_write[4] = 0x15;
				var_write[6] = (current_shot >> 8);  // Most significant byte (MSB)
				var_write[7] = (current_shot & 0xFF);  // Least significant byte (LSB)
				HAL_Delay(50);
			  HAL_UART_Transmit(&huart1, var_write, 8, 20);

		}

///////////////////////////////////////////////////////////////////////////

		if (cartridge_shot_check != cartridge_shot)
		{
				cartridge_shot_check = cartridge_shot;
				var_write[4] = 0x16;
				var_write[6] = (cartridge_shot >> 8);  // Most significant byte (MSB)
				var_write[7] = (cartridge_shot & 0xFF);  // Least significant byte (LSB)
				HAL_Delay(50);
				HAL_UART_Transmit(&huart1, var_write, 8, 20);

		}

//******* END sending commands (ready + stop + cartridge_shot + current_shot + patient_shot energy + length + distance_page + distance) to STC ********

  }
  /* USER CODE END 3 */
}

void SystemClock_Config(void)
{
  RCC_OscInitTypeDef RCC_OscInitStruct = {0};
  RCC_ClkInitTypeDef RCC_ClkInitStruct = {0};

  /** Initializes the RCC Oscillators according to the specified parameters
  * in the RCC_OscInitTypeDef structure.
  */
  RCC_OscInitStruct.OscillatorType = RCC_OSCILLATORTYPE_HSE;
  RCC_OscInitStruct.HSEState = RCC_HSE_ON;
  RCC_OscInitStruct.HSEPredivValue = RCC_HSE_PREDIV_DIV1;
  RCC_OscInitStruct.HSIState = RCC_HSI_ON;
  RCC_OscInitStruct.PLL.PLLState = RCC_PLL_ON;
  RCC_OscInitStruct.PLL.PLLSource = RCC_PLLSOURCE_HSE;
  RCC_OscInitStruct.PLL.PLLMUL = RCC_PLL_MUL9;
  if (HAL_RCC_OscConfig(&RCC_OscInitStruct) != HAL_OK)
  {
    Error_Handler();
  }

  /** Initializes the CPU, AHB and APB buses clocks
  */
  RCC_ClkInitStruct.ClockType = RCC_CLOCKTYPE_HCLK|RCC_CLOCKTYPE_SYSCLK
                              |RCC_CLOCKTYPE_PCLK1|RCC_CLOCKTYPE_PCLK2;
  RCC_ClkInitStruct.SYSCLKSource = RCC_SYSCLKSOURCE_PLLCLK;
  RCC_ClkInitStruct.AHBCLKDivider = RCC_SYSCLK_DIV1;
  RCC_ClkInitStruct.APB1CLKDivider = RCC_HCLK_DIV2;
  RCC_ClkInitStruct.APB2CLKDivider = RCC_HCLK_DIV1;

  if (HAL_RCC_ClockConfig(&RCC_ClkInitStruct, FLASH_LATENCY_2) != HAL_OK)
  {
    Error_Handler();
  }
}

static void MX_I2C1_Init(void)
{

  hi2c1.Instance = I2C1;
  hi2c1.Init.ClockSpeed = 100000;
  hi2c1.Init.DutyCycle = I2C_DUTYCYCLE_2;
  hi2c1.Init.OwnAddress1 = 160;
  hi2c1.Init.AddressingMode = I2C_ADDRESSINGMODE_7BIT;
  hi2c1.Init.DualAddressMode = I2C_DUALADDRESS_DISABLE;
  hi2c1.Init.OwnAddress2 = 0;
  hi2c1.Init.GeneralCallMode = I2C_GENERALCALL_DISABLE;
  hi2c1.Init.NoStretchMode = I2C_NOSTRETCH_DISABLE;
  if (HAL_I2C_Init(&hi2c1) != HAL_OK)
  {
    Error_Handler();
  }

}

static void MX_TIM1_Init(void)
{

  TIM_ClockConfigTypeDef sClockSourceConfig = {0};
  TIM_MasterConfigTypeDef sMasterConfig = {0};
  TIM_OC_InitTypeDef sConfigOC = {0};
  TIM_BreakDeadTimeConfigTypeDef sBreakDeadTimeConfig = {0};

  htim1.Instance = TIM1;
  htim1.Init.Prescaler = 720-1;
  htim1.Init.CounterMode = TIM_COUNTERMODE_UP;
  htim1.Init.Period = 100-1;
  htim1.Init.ClockDivision = TIM_CLOCKDIVISION_DIV1;
  htim1.Init.RepetitionCounter = 0;
  htim1.Init.AutoReloadPreload = TIM_AUTORELOAD_PRELOAD_ENABLE;
  if (HAL_TIM_Base_Init(&htim1) != HAL_OK)
  {
    Error_Handler();
  }
  sClockSourceConfig.ClockSource = TIM_CLOCKSOURCE_INTERNAL;
  if (HAL_TIM_ConfigClockSource(&htim1, &sClockSourceConfig) != HAL_OK)
  {
    Error_Handler();
  }
  if (HAL_TIM_PWM_Init(&htim1) != HAL_OK)
  {
    Error_Handler();
  }
  sMasterConfig.MasterOutputTrigger = TIM_TRGO_RESET;
  sMasterConfig.MasterSlaveMode = TIM_MASTERSLAVEMODE_DISABLE;
  if (HAL_TIMEx_MasterConfigSynchronization(&htim1, &sMasterConfig) != HAL_OK)
  {
    Error_Handler();
  }
  sConfigOC.OCMode = TIM_OCMODE_PWM1;
  sConfigOC.Pulse = 0;
  sConfigOC.OCPolarity = TIM_OCPOLARITY_HIGH;
  sConfigOC.OCFastMode = TIM_OCFAST_DISABLE;
  sConfigOC.OCIdleState = TIM_OCIDLESTATE_RESET;
  sConfigOC.OCNIdleState = TIM_OCNIDLESTATE_RESET;
  if (HAL_TIM_PWM_ConfigChannel(&htim1, &sConfigOC, TIM_CHANNEL_4) != HAL_OK)
  {
    Error_Handler();
  }
  sBreakDeadTimeConfig.OffStateRunMode = TIM_OSSR_DISABLE;
  sBreakDeadTimeConfig.OffStateIDLEMode = TIM_OSSI_DISABLE;
  sBreakDeadTimeConfig.LockLevel = TIM_LOCKLEVEL_OFF;
  sBreakDeadTimeConfig.DeadTime = 0;
  sBreakDeadTimeConfig.BreakState = TIM_BREAK_DISABLE;
  sBreakDeadTimeConfig.BreakPolarity = TIM_BREAKPOLARITY_HIGH;
  sBreakDeadTimeConfig.AutomaticOutput = TIM_AUTOMATICOUTPUT_DISABLE;
  if (HAL_TIMEx_ConfigBreakDeadTime(&htim1, &sBreakDeadTimeConfig) != HAL_OK)
  {
    Error_Handler();
  }
  HAL_TIM_MspPostInit(&htim1);

}

static void MX_TIM2_Init(void)
{

  TIM_ClockConfigTypeDef sClockSourceConfig = {0};
  TIM_MasterConfigTypeDef sMasterConfig = {0};

  htim2.Instance = TIM2;
  htim2.Init.Prescaler = 7200-1;
  htim2.Init.CounterMode = TIM_COUNTERMODE_UP;
  htim2.Init.Period = 1000-1;
  htim2.Init.ClockDivision = TIM_CLOCKDIVISION_DIV1;
  htim2.Init.AutoReloadPreload = TIM_AUTORELOAD_PRELOAD_ENABLE;
  if (HAL_TIM_Base_Init(&htim2) != HAL_OK)
  {
    Error_Handler();
  }
  sClockSourceConfig.ClockSource = TIM_CLOCKSOURCE_INTERNAL;
  if (HAL_TIM_ConfigClockSource(&htim2, &sClockSourceConfig) != HAL_OK)
  {
    Error_Handler();
  }
  sMasterConfig.MasterOutputTrigger = TIM_TRGO_RESET;
  sMasterConfig.MasterSlaveMode = TIM_MASTERSLAVEMODE_DISABLE;
  if (HAL_TIMEx_MasterConfigSynchronization(&htim2, &sMasterConfig) != HAL_OK)
  {
    Error_Handler();
  }

}

static void MX_TIM3_Init(void)
{

  TIM_ClockConfigTypeDef sClockSourceConfig = {0};
  TIM_MasterConfigTypeDef sMasterConfig = {0};
  TIM_OC_InitTypeDef sConfigOC = {0};

  htim3.Instance = TIM3;
  htim3.Init.Prescaler = 720-1;
  htim3.Init.CounterMode = TIM_COUNTERMODE_UP;
  htim3.Init.Period = 100-1;
  htim3.Init.ClockDivision = TIM_CLOCKDIVISION_DIV1;
  htim3.Init.AutoReloadPreload = TIM_AUTORELOAD_PRELOAD_ENABLE;
  if (HAL_TIM_Base_Init(&htim3) != HAL_OK)
  {
    Error_Handler();
  }
  sClockSourceConfig.ClockSource = TIM_CLOCKSOURCE_INTERNAL;
  if (HAL_TIM_ConfigClockSource(&htim3, &sClockSourceConfig) != HAL_OK)
  {
    Error_Handler();
  }
  if (HAL_TIM_PWM_Init(&htim3) != HAL_OK)
  {
    Error_Handler();
  }
  sMasterConfig.MasterOutputTrigger = TIM_TRGO_RESET;
  sMasterConfig.MasterSlaveMode = TIM_MASTERSLAVEMODE_DISABLE;
  if (HAL_TIMEx_MasterConfigSynchronization(&htim3, &sMasterConfig) != HAL_OK)
  {
    Error_Handler();
  }
  sConfigOC.OCMode = TIM_OCMODE_PWM1;
  sConfigOC.Pulse = 0;
  sConfigOC.OCPolarity = TIM_OCPOLARITY_HIGH;
  sConfigOC.OCFastMode = TIM_OCFAST_DISABLE;
  if (HAL_TIM_PWM_ConfigChannel(&htim3, &sConfigOC, TIM_CHANNEL_4) != HAL_OK)
  {
    Error_Handler();
  }
  HAL_TIM_MspPostInit(&htim3);

}

static void MX_TIM4_Init(void)
{

  TIM_ClockConfigTypeDef sClockSourceConfig = {0};
  TIM_MasterConfigTypeDef sMasterConfig = {0};
  TIM_OC_InitTypeDef sConfigOC = {0};

  htim4.Instance = TIM4;
  htim4.Init.Prescaler = 720-1;
  htim4.Init.CounterMode = TIM_COUNTERMODE_UP;
  htim4.Init.Period = 100-1;
  htim4.Init.ClockDivision = TIM_CLOCKDIVISION_DIV1;
  htim4.Init.AutoReloadPreload = TIM_AUTORELOAD_PRELOAD_ENABLE;
  if (HAL_TIM_Base_Init(&htim4) != HAL_OK)
  {
    Error_Handler();
  }
  sClockSourceConfig.ClockSource = TIM_CLOCKSOURCE_INTERNAL;
  if (HAL_TIM_ConfigClockSource(&htim4, &sClockSourceConfig) != HAL_OK)
  {
    Error_Handler();
  }
  if (HAL_TIM_PWM_Init(&htim4) != HAL_OK)
  {
    Error_Handler();
  }
  sMasterConfig.MasterOutputTrigger = TIM_TRGO_RESET;
  sMasterConfig.MasterSlaveMode = TIM_MASTERSLAVEMODE_DISABLE;
  if (HAL_TIMEx_MasterConfigSynchronization(&htim4, &sMasterConfig) != HAL_OK)
  {
    Error_Handler();
  }
  sConfigOC.OCMode = TIM_OCMODE_PWM1;
  sConfigOC.Pulse = 0;
  sConfigOC.OCPolarity = TIM_OCPOLARITY_HIGH;
  sConfigOC.OCFastMode = TIM_OCFAST_DISABLE;
  if (HAL_TIM_PWM_ConfigChannel(&htim4, &sConfigOC, TIM_CHANNEL_4) != HAL_OK)
  {
    Error_Handler();
  }
  HAL_TIM_MspPostInit(&htim4);

}

static void MX_USART1_UART_Init(void)
{

  huart1.Instance = USART1;
  huart1.Init.BaudRate = 9600;
  huart1.Init.WordLength = UART_WORDLENGTH_8B;
  huart1.Init.StopBits = UART_STOPBITS_1;
  huart1.Init.Parity = UART_PARITY_NONE;
  huart1.Init.Mode = UART_MODE_TX_RX;
  huart1.Init.HwFlowCtl = UART_HWCONTROL_NONE;
  huart1.Init.OverSampling = UART_OVERSAMPLING_16;
  if (HAL_UART_Init(&huart1) != HAL_OK)
  {
    Error_Handler();
  }

}

static void MX_USART3_UART_Init(void)
{

  huart3.Instance = USART3;
  huart3.Init.BaudRate = 9600;
  huart3.Init.WordLength = UART_WORDLENGTH_8B;
  huart3.Init.StopBits = UART_STOPBITS_1;
  huart3.Init.Parity = UART_PARITY_NONE;
  huart3.Init.Mode = UART_MODE_TX_RX;
  huart3.Init.HwFlowCtl = UART_HWCONTROL_NONE;
  huart3.Init.OverSampling = UART_OVERSAMPLING_16;
  if (HAL_UART_Init(&huart3) != HAL_OK)
  {
    Error_Handler();
  }

}

static void MX_DMA_Init(void)
{

  /* DMA controller clock enable */
  __HAL_RCC_DMA1_CLK_ENABLE();

  /* DMA interrupt init */
  /* DMA1_Channel2_IRQn interrupt configuration */
  HAL_NVIC_SetPriority(DMA1_Channel2_IRQn, 0, 0);
  HAL_NVIC_EnableIRQ(DMA1_Channel2_IRQn);
  /* DMA1_Channel3_IRQn interrupt configuration */
  HAL_NVIC_SetPriority(DMA1_Channel3_IRQn, 0, 0);
  HAL_NVIC_EnableIRQ(DMA1_Channel3_IRQn);
  /* DMA1_Channel4_IRQn interrupt configuration */
  HAL_NVIC_SetPriority(DMA1_Channel4_IRQn, 0, 0);
  HAL_NVIC_EnableIRQ(DMA1_Channel4_IRQn);
  /* DMA1_Channel5_IRQn interrupt configuration */
  HAL_NVIC_SetPriority(DMA1_Channel5_IRQn, 0, 0);
  HAL_NVIC_EnableIRQ(DMA1_Channel5_IRQn);

}

static void MX_GPIO_Init(void)
{
  GPIO_InitTypeDef GPIO_InitStruct = {0};

  /* GPIO Ports Clock Enable */
  __HAL_RCC_GPIOC_CLK_ENABLE();
  __HAL_RCC_GPIOD_CLK_ENABLE();
  __HAL_RCC_GPIOA_CLK_ENABLE();
  __HAL_RCC_GPIOB_CLK_ENABLE();

  /*Configure GPIO pin Output Level */
  HAL_GPIO_WritePin(GPIOC, GPIO_PIN_13, GPIO_PIN_SET);

  /*Configure GPIO pin Output Level */
  HAL_GPIO_WritePin(GPIOA, GPIO_PIN_1|GPIO_PIN_3|GPIO_PIN_6|GPIO_PIN_7, GPIO_PIN_RESET);

  /*Configure GPIO pin : PC13 */
  GPIO_InitStruct.Pin = GPIO_PIN_13;
  GPIO_InitStruct.Mode = GPIO_MODE_OUTPUT_PP;
  GPIO_InitStruct.Pull = GPIO_NOPULL;
  GPIO_InitStruct.Speed = GPIO_SPEED_FREQ_HIGH;
  HAL_GPIO_Init(GPIOC, &GPIO_InitStruct);

  /*Configure GPIO pins : PA1 PA3 PA6 PA7 */
  GPIO_InitStruct.Pin = GPIO_PIN_1|GPIO_PIN_3|GPIO_PIN_6|GPIO_PIN_7;
  GPIO_InitStruct.Mode = GPIO_MODE_OUTPUT_PP;
  GPIO_InitStruct.Pull = GPIO_PULLDOWN;
  GPIO_InitStruct.Speed = GPIO_SPEED_FREQ_HIGH;
  HAL_GPIO_Init(GPIOA, &GPIO_InitStruct);

  /*Configure GPIO pin : PA5 */
  GPIO_InitStruct.Pin = GPIO_PIN_5;
  GPIO_InitStruct.Mode = GPIO_MODE_INPUT;
  GPIO_InitStruct.Pull = GPIO_NOPULL;
  HAL_GPIO_Init(GPIOA, &GPIO_InitStruct);

  /*Configure GPIO pins : PB12 PB13 */
  GPIO_InitStruct.Pin = GPIO_PIN_12|GPIO_PIN_13;
  GPIO_InitStruct.Mode = GPIO_MODE_INPUT;
  GPIO_InitStruct.Pull = GPIO_NOPULL;
  HAL_GPIO_Init(GPIOB, &GPIO_InitStruct);

}

/* USER CODE BEGIN 4 */

void HAL_TIM_PeriodElapsedCallback(TIM_HandleTypeDef *htim)
{
    if (htim->Instance == htim2.Instance) // 0.1 sec
    {
				if (start_timer_stc_buzzer == 1)
				{
						timer_stc_buzzer ++;
				}

				if (shooting == 1)
				{
						shooting_timer ++;
				}

				if (ready_led_start == 1)
				{
						timer_ready_led_start ++;
				}

		}

}

/* USER CODE END 4 */

void Error_Handler(void)
{
  __disable_irq();
  while (1)
  {
  }
}
